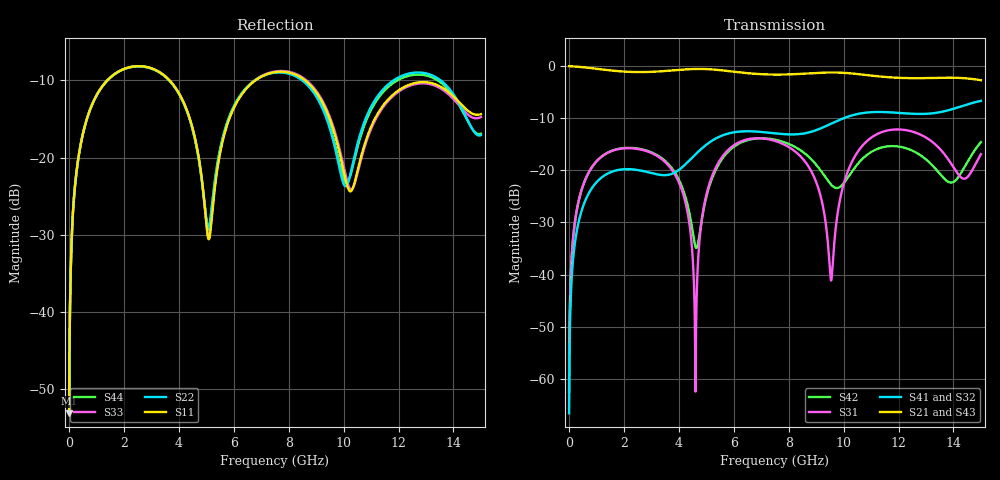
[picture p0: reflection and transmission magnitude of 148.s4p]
! Created with skrf 1.8.0 (http://scikit-rf.org).
# GHz S RI R 50.0
!freq ReS11 ImS11 ReS12 ImS12 ReS13 ImS13
! ReS14 ImS14
! ReS21 ImS21 ReS22 ImS22 ReS23 ImS23
! ReS24 ImS24
! ReS31 ImS31 ReS32 ImS32 ReS33 ImS33
! ReS34 ImS34
! ReS41 ImS41 ReS42 ImS42 ReS43 ImS43
! ReS44 ImS44
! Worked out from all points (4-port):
!   2499 points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, 5 MHz to 15 GHz, reference 50 ohm
!   strongest paths, dB at 5 MHz, 3.476 GHz, 7.19 GHz, 11.1 GHz, 15 GHz:
!     S21: 0.0, -1.0, -1.6, -1.9, -2.7
!     S43: 0.0, -1.0, -1.6, -1.9, -2.7
!     S41: -66.6, -20.9, -12.7, -8.8, -6.7
!     S32: -66.6, -21.0, -12.8, -8.9, -6.7
!     S31: -62.6, -18.3, -14.0, -13.4, -16.9
!     S42: -62.6, -18.1, -13.9, -16.2, -14.6
!   lowest |S11| = -53.1 dB at 5 MHz (marker M1), VSWR 1.00, Z = 50.2 + j0.134 ohm
!   |S11| at or under -10 dB: start of sweep to 1.399 GHz; 3.658 GHz to 6.793 GHz (3.135 GHz wide, 60 % of centre); 8.598 GHz to end of sweep
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0.005  0.00176 0.00133  0.9982 -0.00343  9.03e-05 0.000739  -8.75e-05 -0.000457
       0.9982 -0.00343  0.00176 0.00133  -8.75e-05 -0.000457  9.04e-05 0.000739
       9.03e-05 0.000739  -8.75e-05 -0.000457  0.00176 0.00133  0.9982 -0.00343
       -8.75e-05 -0.000457  9.04e-05 0.000739  0.9982 -0.00343  0.00176 0.00133
1.419341  0.2647 0.1779  0.5597 -0.7221  0.1312 0.068  -0.093 -0.00787
          0.5597 -0.7221  0.2642 0.1782  -0.0929 -0.00799  0.1332 0.0653
          0.1312 0.068  -0.0929 -0.00799  0.2648 0.1779  0.5597 -0.7221
          -0.093 -0.00787  0.1332 0.0653  0.5597 -0.7221  0.2641 0.1783
4.601917  0.0622 -0.1146  -0.8689 -0.354  -0.000582 -0.000866  -0.0484 0.1333
          -0.8689 -0.354  0.0657 -0.1103  -0.05 0.1327  -0.0167 -0.00837
          -0.000582 -0.000866  -0.05 0.1327  0.0623 -0.114  -0.869 -0.354
          -0.0484 0.1333  -0.0167 -0.00837  -0.869 -0.354  0.0653 -0.1099
5.796165  0.1088 0.1306  -0.83 0.3384  0.1061 0.1154  0.1149 0.1936
          -0.83 0.3384  0.1168 0.1308  0.1125 0.1945  0.0948 0.1174
          0.1061 0.1154  0.1125 0.1945  0.1104 0.1315  -0.8297 0.3386
          0.1149 0.1936  0.0948 0.1174  -0.8297 0.3386  0.1161 0.1318
9.547728  0.1109 -0.1257  0.7288 0.473  0.00869 0.00104  0.1424 -0.2414
          0.7288 0.473  0.1022 -0.1019  0.1486 -0.2372  -0.0594 -0.0419
          0.00869 0.00104  0.1486 -0.2372  0.1134 -0.1316  0.7267 0.4745
          0.1424 -0.2414  -0.0594 -0.0419  0.7267 0.4745  0.1073 -0.1057
10.26053  0.0605 -0.00268  0.8463 0.0953  0.0569 0.0988  0.0233 -0.3329
          0.8463 0.0953  0.0713 0.0362  0.0316 -0.3317  -0.0399 0.0847
          0.0569 0.0988  0.0316 -0.3317  0.0614 -0.00963  0.8461 0.0985
          0.0233 -0.3329  -0.0399 0.0847  0.8461 0.0985  0.0728 0.028
15  0.191 -0.00657  -0.6717 -0.2904  -0.0495 0.134  -0.1745 0.4296
    -0.6717 -0.2904  0.1394 -0.00706  -0.1902 0.4243  -0.0937 0.1611
    -0.0495 0.134  -0.1902 0.4243  0.1827 -0.00127  -0.6728 -0.2898
    -0.1745 0.4296  -0.0937 0.1611  -0.6728 -0.2898  0.1429 -0.00378
